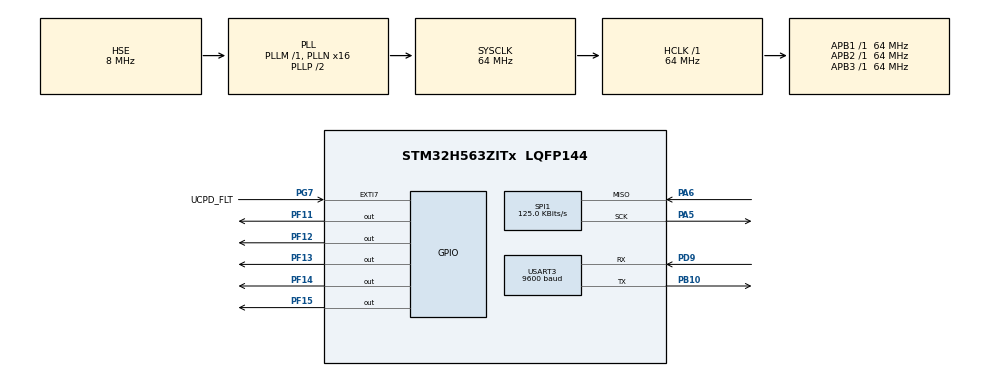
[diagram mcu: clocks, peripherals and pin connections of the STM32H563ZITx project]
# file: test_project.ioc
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BOOTPATH.BootPathName=LEGACY
BOOTPATH.UserSelectedBootPath=LEGACY
CORTEX_M33_NS.userName=CORTEX_M33
Mcu.Family=STM32H5
Mcu.Name=STM32H563ZITx
Mcu.Package=LQFP144
NUCLEO-H563ZI.BUTTON=0
NUCLEO-H563ZI.LD1=false
NUCLEO-H563ZI.LD2=false
NUCLEO-H563ZI.LD3=false
NUCLEO-H563ZI.VCP=false
NVIC.PriorityGroup=NVIC_PRIORITYGROUP_4
PA1.GPIO_Label=RMII_REF_CLK
PA1.GPIO_Mode=GPIO_MODE_AF_PP
PA1.GPIO_PuPd=GPIO_NOPULL
PA1.GPIO_Speed=GPIO_SPEED_FREQ_LOW
PA1.Signal=ETH_REF_CLK
PA11.GPIO_Label=USB_FS_N
PA11.Signal=USB_DM
PA12.GPIO_Label=USB_FS_P
PA12.Signal=USB_DP
PA13(JTMS/SWDIO).GPIO_Label=SWDIO
PA13(JTMS/SWDIO).Signal=DEBUG_JTMS-SWDIO
PA14(JTCK/SWCLK).GPIO_Label=SWCLK
PA14(JTCK/SWCLK).Signal=DEBUG_JTCK-SWCLK
PA15(JTDI).GPIO_Label=T_JTDI
PA15(JTDI).Signal=DEBUG_JTDI
PA2.GPIO_Label=RMII_MDIO
PA2.GPIO_Mode=GPIO_MODE_AF_PP
PA2.GPIO_PuPd=GPIO_NOPULL
PA2.GPIO_Speed=GPIO_SPEED_FREQ_LOW
PA2.Signal=ETH_MDIO
PA4.GPIO_Label=VBUS_SENSE
PA4.Signal=ADCx_INP18
PA5.Mode=RX_Only_Simplex_Unidirect_Master
PA5.Signal=SPI1_SCK
PA6.Mode=RX_Only_Simplex_Unidirect_Master
PA6.Signal=SPI1_MISO
PA7.GPIO_Label=RMII_CRS_DV
PA7.GPIO_Mode=GPIO_MODE_AF_PP
PA7.GPIO_PuPd=GPIO_NOPULL
PA7.GPIO_Speed=GPIO_SPEED_FREQ_LOW
PA7.Signal=ETH_CRS_DV
PA9.GPIO_Label=UCDP_DBn
PA9.Signal=UCPD1_DB1
PB10.Mode=Asynchronous
PB10.Signal=USART3_TX
PB13.GPIO_Label=UCPD_CC1
PB13.Signal=UCPD1_CC1
PB14.GPIO_Label=UCPD_CC2
PB14.Signal=UCPD1_CC2
PB15.GPIO_Label=RMII_TXD1
PB15.GPIO_Mode=GPIO_MODE_AF_PP
PB15.GPIO_PuPd=GPIO_NOPULL
PB15.GPIO_Speed=GPIO_SPEED_FREQ_LOW
PB15.Signal=ETH_TXD1
PB3(JTDO/TRACESWO).GPIO_Label=SWO
PB3(JTDO/TRACESWO).Signal=DEBUG_JTDO-SWO
PB6.GPIO_Label=ARD_D1_TX
PB6.Signal=LPUART1_TX
PB7.GPIO_Label=ARD_D0_RX
PB7.Signal=LPUART1_RX
PC1.GPIO_Label=RMII_MDC
PC1.GPIO_Mode=GPIO_MODE_AF_PP
PC1.GPIO_PuPd=GPIO_NOPULL
PC1.GPIO_Speed=GPIO_SPEED_FREQ_LOW
PC1.Signal=ETH_MDC
PC14-OSC32_IN(OSC32_IN).Mode=LSE-External-Oscillator
PC14-OSC32_IN(OSC32_IN).Signal=RCC_OSC32_IN
PC15-OSC32_OUT(OSC32_OUT).Mode=LSE-External-Oscillator
PC15-OSC32_OUT(OSC32_OUT).Signal=RCC_OSC32_OUT
PC4.GPIO_Label=RMII_RXD0
PC4.GPIO_Mode=GPIO_MODE_AF_PP
PC4.GPIO_PuPd=GPIO_NOPULL
PC4.GPIO_Speed=GPIO_SPEED_FREQ_LOW
PC4.Signal=ETH_RXD0
PC5.GPIO_Label=RMII_RXD1
PC5.GPIO_Mode=GPIO_MODE_AF_PP
PC5.GPIO_PuPd=GPIO_NOPULL
PC5.GPIO_Speed=GPIO_SPEED_FREQ_LOW
PC5.Signal=ETH_RXD1
PD9.Mode=Asynchronous
PD9.Signal=USART3_RX
PE2.GPIO_Label=TRACE_CK
PE2.Signal=DEBUG_TRACECLK
PE3.GPIO_Label=TRACE_D0
PE3.Signal=DEBUG_TRACED0
PE4.GPIO_Label=TRACE_D1
PE4.Signal=DEBUG_TRACED1
PE5.GPIO_Label=TRACE_D2
PE5.Signal=DEBUG_TRACED2
PE6.GPIO_Label=TRACE_D3
PE6.Signal=DEBUG_TRACED3
PF11.Signal=GPIO_Output
PF12.Signal=GPIO_Output
PF13.Signal=GPIO_Output
PF14.Signal=GPIO_Output
PF15.Signal=GPIO_Output
PG11.GPIO_Label=RMII_TXT_EN
PG11.GPIO_Mode=GPIO_MODE_AF_PP
PG11.GPIO_PuPd=GPIO_NOPULL
PG11.GPIO_Speed=GPIO_SPEED_FREQ_LOW
PG11.Signal=ETH_TX_EN
PG13.GPIO_Label=RMI_TXD0
PG13.GPIO_Mode=GPIO_MODE_AF_PP
PG13.GPIO_PuPd=GPIO_NOPULL
PG13.GPIO_Speed=GPIO_SPEED_FREQ_LOW
PG13.Signal=ETH_TXD0
PG7.GPIO_Label=UCPD_FLT
PG7.Signal=GPXTI7
PH0-OSC_IN(PH0).GPIO_Label=STLK_MCO
PH0-OSC_IN(PH0).Mode=HSE-External-Clock-Source
PH0-OSC_IN(PH0).Signal=RCC_OSC_IN
ProjectManager.HeapSize=0x200
ProjectManager.StackSize=0x400
ProjectManager.TargetToolchain=STM32CubeIDE
RCC.ADCFreq_Value=64000000
RCC.AHBFreq_Value=64000000
RCC.APB1Freq_Value=64000000
RCC.APB1TimFreq_Value=64000000
RCC.APB2Freq_Value=64000000
RCC.APB2TimFreq_Value=64000000
RCC.APB3Freq_Value=64000000
RCC.CSI_VALUE=4000000
RCC.CortexFreq_Value=64000000
RCC.EPOD_VALUE=8000000
RCC.HCLKFreq_Value=64000000
RCC.HSE_VALUE=8000000
RCC.HSI48_VALUE=48000000
RCC.HSIDiv=RCC_HSI_DIV1
RCC.HSI_VALUE=64000000
RCC.LSIRC_VALUE=32000
RCC.PLL1Q=8
RCC.PLLFRACN=0
RCC.PLLN=16
RCC.PLLSourceVirtual=RCC_PLL1_SOURCE_HSE
RCC.SYSCLKFreq_VALUE=64000000
RCC.SYSCLKSource=RCC_SYSCLKSOURCE_PLLCLK
RCC.USBFreq_Value=48000000
RCC.VCOOutputFreq_Value=128000000
SH.ADCx_INP18.0=ADC1_INP18
SPI1.BaudRatePrescaler=SPI_BAUDRATEPRESCALER_128
SPI1.CalculateBaudRate=125.0 KBits/s
SPI1.DataSize=SPI_DATASIZE_16BIT
SPI1.Direction=SPI_DIRECTION_2LINES_RXONLY
SPI1.Mode=SPI_MODE_MASTER
SPI1.VirtualType=VM_MASTER
USART3.BaudRate=9600
USART3.VirtualMode-Asynchronous=VM_ASYNC
VP_BOOTPATH_VS_BOOTPATH.Mode=BP_Activate
VP_CORTEX_M33_NS_VS_Hclk.Mode=Hclk_Mode
VP_MEMORYMAP_VS_MEMORYMAP.Mode=CurAppReg
VP_NUCLEO-H563ZI_VS_BSP_COMMON.Mode=COMMON
VP_PWR_VS_DBSignals.Mode=DisableDeadBatterySignals
VP_PWR_VS_LPOM.Mode=PowerOptimisation
VP_PWR_VS_SECSignals.Mode=Security/Privilege
board=NUCLEO-H563ZI

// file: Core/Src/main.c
/* USER CODE BEGIN Header */
/**
  ******************************************************************************
  * @file           : main.c
  * @brief          : Main program body
  ******************************************************************************
  * @attention
  *
  * Copyright (c) 2024 STMicroelectronics.
  * All rights reserved.
  *
  * This software is licensed under terms that can be found in the LICENSE file
  * in the root directory of this software component.
  * If no LICENSE file comes with this software, it is provided AS-IS.
  *
  ******************************************************************************
  */
/* USER CODE END Header */
#include "main.h"

/* USER CODE BEGIN Includes */
#include <string.h>
#include <stdio.h>
/* USER CODE END Includes */

SPI_HandleTypeDef hspi1;

UART_HandleTypeDef huart3;

void SystemClock_Config(void);
static void MX_GPIO_Init(void);
static void MX_SPI1_Init(void);
static void MX_USART3_UART_Init(void);

int main(void)
{

  /* MCU Configuration--------------------------------------------------------*/

  /* Reset of all peripherals, Initializes the Flash interface and the Systick. */
  HAL_Init();

  /* Configure the system clock */
  SystemClock_Config();

  /* Initialize all configured peripherals */
  MX_GPIO_Init();
  MX_SPI1_Init();
  MX_USART3_UART_Init();

  /* Infinite loop */
  /* USER CODE BEGIN WHILE */
  float Temp[5];
  _Bool TCF=0;                                          // Thermocouple Connection acknowledge Flag
  uint8_t print_data[100];
  uint8_t DATARX[2];

  while (1)
  {
	// Reading sensor 1 data
	HAL_GPIO_WritePin(GPIOF,GPIO_PIN_11,GPIO_PIN_RESET);       // Low State for SPI Communication
	HAL_SPI_Receive(&hspi1,DATARX,1,50);                  // DATA Transfer
	HAL_GPIO_WritePin(GPIOF,GPIO_PIN_11,GPIO_PIN_SET);         // High State for SPI Communication
	TCF=(((DATARX[0]|(DATARX[1]<<8))>>2)& 0x0001);        // State of Connecting
	Temp[0]=((((DATARX[0]|DATARX[1]<<8)))>>3);               // Temperature Data Extraction
	Temp[0]*=0.25;

	// Reading sensor 2 data
	HAL_GPIO_WritePin(GPIOF,GPIO_PIN_12,GPIO_PIN_RESET);       // Low State for SPI Communication
	HAL_SPI_Receive(&hspi1,DATARX,1,50);                  // DATA Transfer
	HAL_GPIO_WritePin(GPIOF,GPIO_PIN_12,GPIO_PIN_SET);         // High State for SPI Communication
	TCF=(((DATARX[0]|(DATARX[1]<<8))>>2)& 0x0001);        // State of Connecting
	Temp[1]=((((DATARX[0]|DATARX[1]<<8)))>>3);               // Temperature Data Extraction
	Temp[1]*=0.25;

	// Reading sensor 3 data
	HAL_GPIO_WritePin(GPIOF,GPIO_PIN_13,GPIO_PIN_RESET);       // Low State for SPI Communication
	HAL_SPI_Receive(&hspi1,DATARX,1,50);                  // DATA Transfer
	HAL_GPIO_WritePin(GPIOF,GPIO_PIN_13,GPIO_PIN_SET);         // High State for SPI Communication
	TCF=(((DATARX[0]|(DATARX[1]<<8))>>2)& 0x0001);        // State of Connecting
	Temp[2]=((((DATARX[0]|DATARX[1]<<8)))>>3);               // Temperature Data Extraction
	Temp[2]*=0.25;

	// Reading sensor 4 data
	HAL_GPIO_WritePin(GPIOF,GPIO_PIN_14,GPIO_PIN_RESET);       // Low State for SPI Communication
	HAL_SPI_Receive(&hspi1,DATARX,1,50);                  // DATA Transfer
	HAL_GPIO_WritePin(GPIOF,GPIO_PIN_14,GPIO_PIN_SET);         // High State for SPI Communication
	TCF=(((DATARX[0]|(DATARX[1]<<8))>>2)& 0x0001);        // State of Connecting
	Temp[3]=((((DATARX[0]|DATARX[1]<<8)))>>3);               // Temperature Data Extraction
	Temp[3]*=0.25;

	// Reading sensor 5 data
	HAL_GPIO_WritePin(GPIOF,GPIO_PIN_15,GPIO_PIN_RESET);       // Low State for SPI Communication
	HAL_SPI_Receive(&hspi1,DATARX,1,50);                  // DATA Transfer
	HAL_GPIO_WritePin(GPIOF,GPIO_PIN_15,GPIO_PIN_SET);         // High State for SPI Communication
	TCF=(((DATARX[0]|(DATARX[1]<<8))>>2)& 0x0001);        // State of Connecting
	Temp[4]=((((DATARX[0]|DATARX[1]<<8)))>>3);               // Temperature Data Extraction
	Temp[4]*=0.25;

	// Sending data to esp
	sprintf(print_data, "{\"sen1\": %.2f, \"sen2\": %.2f, \"sen3\": %.2f, \"sen4\": %.2f, \"sen5\": %.2f}\n",
		Temp[0], Temp[1],Temp[2],Temp[3],Temp[4]);
	HAL_UART_Transmit(&huart3, print_data, strlen(print_data), 100);

	HAL_Delay(5000);
    /* USER CODE END WHILE */

  }
}

void SystemClock_Config(void)
{
  RCC_OscInitTypeDef RCC_OscInitStruct = {0};
  RCC_ClkInitTypeDef RCC_ClkInitStruct = {0};

  /** Configure the main internal regulator output voltage
  */
  __HAL_PWR_VOLTAGESCALING_CONFIG(PWR_REGULATOR_VOLTAGE_SCALE3);

  while(!__HAL_PWR_GET_FLAG(PWR_FLAG_VOSRDY)) {}

  /** Initializes the RCC Oscillators according to the specified parameters
  * in the RCC_OscInitTypeDef structure.
  */
  RCC_OscInitStruct.OscillatorType = RCC_OSCILLATORTYPE_HSE;
  RCC_OscInitStruct.HSEState = RCC_HSE_BYPASS;
  RCC_OscInitStruct.PLL.PLLState = RCC_PLL_ON;
  RCC_OscInitStruct.PLL.PLLSource = RCC_PLL1_SOURCE_HSE;
  RCC_OscInitStruct.PLL.PLLM = 1;
  RCC_OscInitStruct.PLL.PLLN = 16;
  RCC_OscInitStruct.PLL.PLLP = 2;
  RCC_OscInitStruct.PLL.PLLQ = 8;
  RCC_OscInitStruct.PLL.PLLR = 2;
  RCC_OscInitStruct.PLL.PLLRGE = RCC_PLL1_VCIRANGE_3;
  RCC_OscInitStruct.PLL.PLLVCOSEL = RCC_PLL1_VCORANGE_WIDE;
  RCC_OscInitStruct.PLL.PLLFRACN = 0;
  if (HAL_RCC_OscConfig(&RCC_OscInitStruct) != HAL_OK)
  {
    Error_Handler();
  }

  /** Initializes the CPU, AHB and APB buses clocks
  */
  RCC_ClkInitStruct.ClockType = RCC_CLOCKTYPE_HCLK|RCC_CLOCKTYPE_SYSCLK
                              |RCC_CLOCKTYPE_PCLK1|RCC_CLOCKTYPE_PCLK2
                              |RCC_CLOCKTYPE_PCLK3;
  RCC_ClkInitStruct.SYSCLKSource = RCC_SYSCLKSOURCE_PLLCLK;
  RCC_ClkInitStruct.AHBCLKDivider = RCC_SYSCLK_DIV1;
  RCC_ClkInitStruct.APB1CLKDivider = RCC_HCLK_DIV1;
  RCC_ClkInitStruct.APB2CLKDivider = RCC_HCLK_DIV1;
  RCC_ClkInitStruct.APB3CLKDivider = RCC_HCLK_DIV1;

  if (HAL_RCC_ClockConfig(&RCC_ClkInitStruct, FLASH_LATENCY_3) != HAL_OK)
  {
    Error_Handler();
  }

  /** Configure the programming delay
  */
  __HAL_FLASH_SET_PROGRAM_DELAY(FLASH_PROGRAMMING_DELAY_1);
}

static void MX_SPI1_Init(void)
{

  /* SPI1 parameter configuration*/
  hspi1.Instance = SPI1;
  hspi1.Init.Mode = SPI_MODE_MASTER;
  hspi1.Init.Direction = SPI_DIRECTION_2LINES_RXONLY;
  hspi1.Init.DataSize = SPI_DATASIZE_16BIT;
  hspi1.Init.CLKPolarity = SPI_POLARITY_LOW;
  hspi1.Init.CLKPhase = SPI_PHASE_1EDGE;
  hspi1.Init.NSS = SPI_NSS_SOFT;
  hspi1.Init.BaudRatePrescaler = SPI_BAUDRATEPRESCALER_128;
  hspi1.Init.FirstBit = SPI_FIRSTBIT_MSB;
  hspi1.Init.TIMode = SPI_TIMODE_DISABLE;
  hspi1.Init.CRCCalculation = SPI_CRCCALCULATION_DISABLE;
  hspi1.Init.CRCPolynomial = 0x7;
  hspi1.Init.NSSPMode = SPI_NSS_PULSE_ENABLE;
  hspi1.Init.NSSPolarity = SPI_NSS_POLARITY_LOW;
  hspi1.Init.FifoThreshold = SPI_FIFO_THRESHOLD_01DATA;
  hspi1.Init.MasterSSIdleness = SPI_MASTER_SS_IDLENESS_00CYCLE;
  hspi1.Init.MasterInterDataIdleness = SPI_MASTER_INTERDATA_IDLENESS_00CYCLE;
  hspi1.Init.MasterReceiverAutoSusp = SPI_MASTER_RX_AUTOSUSP_DISABLE;
  hspi1.Init.MasterKeepIOState = SPI_MASTER_KEEP_IO_STATE_DISABLE;
  hspi1.Init.IOSwap = SPI_IO_SWAP_DISABLE;
  hspi1.Init.ReadyMasterManagement = SPI_RDY_MASTER_MANAGEMENT_INTERNALLY;
  hspi1.Init.ReadyPolarity = SPI_RDY_POLARITY_HIGH;
  if (HAL_SPI_Init(&hspi1) != HAL_OK)
  {
    Error_Handler();
  }

}

static void MX_USART3_UART_Init(void)
{

  huart3.Instance = USART3;
  huart3.Init.BaudRate = 9600;
  huart3.Init.WordLength = UART_WORDLENGTH_8B;
  huart3.Init.StopBits = UART_STOPBITS_1;
  huart3.Init.Parity = UART_PARITY_NONE;
  huart3.Init.Mode = UART_MODE_TX_RX;
  huart3.Init.HwFlowCtl = UART_HWCONTROL_NONE;
  huart3.Init.OverSampling = UART_OVERSAMPLING_16;
  huart3.Init.OneBitSampling = UART_ONE_BIT_SAMPLE_DISABLE;
  huart3.Init.ClockPrescaler = UART_PRESCALER_DIV1;
  huart3.AdvancedInit.AdvFeatureInit = UART_ADVFEATURE_NO_INIT;
  if (HAL_UART_Init(&huart3) != HAL_OK)
  {
    Error_Handler();
  }
  if (HAL_UARTEx_SetTxFifoThreshold(&huart3, UART_TXFIFO_THRESHOLD_1_8) != HAL_OK)
  {
    Error_Handler();
  }
  if (HAL_UARTEx_SetRxFifoThreshold(&huart3, UART_RXFIFO_THRESHOLD_1_8) != HAL_OK)
  {
    Error_Handler();
  }
  if (HAL_UARTEx_DisableFifoMode(&huart3) != HAL_OK)
  {
    Error_Handler();
  }

}

static void MX_GPIO_Init(void)
{
  GPIO_InitTypeDef GPIO_InitStruct = {0};

  /* GPIO Ports Clock Enable */
  __HAL_RCC_GPIOE_CLK_ENABLE();
  __HAL_RCC_GPIOC_CLK_ENABLE();
  __HAL_RCC_GPIOH_CLK_ENABLE();
  __HAL_RCC_GPIOA_CLK_ENABLE();
  __HAL_RCC_GPIOF_CLK_ENABLE();
  __HAL_RCC_GPIOB_CLK_ENABLE();
  __HAL_RCC_GPIOD_CLK_ENABLE();
  __HAL_RCC_GPIOG_CLK_ENABLE();

  /*Configure GPIO pin Output Level */
  HAL_GPIO_WritePin(GPIOF, GPIO_PIN_11|GPIO_PIN_12|GPIO_PIN_13|GPIO_PIN_14
                          |GPIO_PIN_15, GPIO_PIN_RESET);

  /*Configure GPIO pins : RMII_MDC_Pin RMII_RXD0_Pin RMII_RXD1_Pin */
  GPIO_InitStruct.Pin = RMII_MDC_Pin|RMII_RXD0_Pin|RMII_RXD1_Pin;
  GPIO_InitStruct.Mode = GPIO_MODE_AF_PP;
  GPIO_InitStruct.Pull = GPIO_NOPULL;
  GPIO_InitStruct.Speed = GPIO_SPEED_FREQ_HIGH;
  GPIO_InitStruct.Alternate = GPIO_AF11_ETH;
  HAL_GPIO_Init(GPIOC, &GPIO_InitStruct);

  /*Configure GPIO pins : RMII_REF_CLK_Pin RMII_MDIO_Pin RMII_CRS_DV_Pin */
  GPIO_InitStruct.Pin = RMII_REF_CLK_Pin|RMII_MDIO_Pin|RMII_CRS_DV_Pin;
  GPIO_InitStruct.Mode = GPIO_MODE_AF_PP;
  GPIO_InitStruct.Pull = GPIO_NOPULL;
  GPIO_InitStruct.Speed = GPIO_SPEED_FREQ_HIGH;
  GPIO_InitStruct.Alternate = GPIO_AF11_ETH;
  HAL_GPIO_Init(GPIOA, &GPIO_InitStruct);

  /*Configure GPIO pin : VBUS_SENSE_Pin */
  GPIO_InitStruct.Pin = VBUS_SENSE_Pin;
  GPIO_InitStruct.Mode = GPIO_MODE_ANALOG;
  GPIO_InitStruct.Pull = GPIO_NOPULL;
  HAL_GPIO_Init(VBUS_SENSE_GPIO_Port, &GPIO_InitStruct);

  /*Configure GPIO pins : PF11 PF12 PF13 PF14
                           PF15 */
  GPIO_InitStruct.Pin = GPIO_PIN_11|GPIO_PIN_12|GPIO_PIN_13|GPIO_PIN_14
                          |GPIO_PIN_15;
  GPIO_InitStruct.Mode = GPIO_MODE_OUTPUT_PP;
  GPIO_InitStruct.Pull = GPIO_NOPULL;
  GPIO_InitStruct.Speed = GPIO_SPEED_FREQ_LOW;
  HAL_GPIO_Init(GPIOF, &GPIO_InitStruct);

  /*Configure GPIO pins : UCPD_CC1_Pin UCPD_CC2_Pin */
  GPIO_InitStruct.Pin = UCPD_CC1_Pin|UCPD_CC2_Pin;
  GPIO_InitStruct.Mode = GPIO_MODE_ANALOG;
  GPIO_InitStruct.Pull = GPIO_NOPULL;
  HAL_GPIO_Init(GPIOB, &GPIO_InitStruct);

  /*Configure GPIO pin : RMII_TXD1_Pin */
  GPIO_InitStruct.Pin = RMII_TXD1_Pin;
  GPIO_InitStruct.Mode = GPIO_MODE_AF_PP;
  GPIO_InitStruct.Pull = GPIO_NOPULL;
  GPIO_InitStruct.Speed = GPIO_SPEED_FREQ_HIGH;
  GPIO_InitStruct.Alternate = GPIO_AF11_ETH;
  HAL_GPIO_Init(RMII_TXD1_GPIO_Port, &GPIO_InitStruct);

  /*Configure GPIO pin : UCPD_FLT_Pin */
  GPIO_InitStruct.Pin = UCPD_FLT_Pin;
  GPIO_InitStruct.Mode = GPIO_MODE_IT_RISING;
  GPIO_InitStruct.Pull = GPIO_NOPULL;
  HAL_GPIO_Init(UCPD_FLT_GPIO_Port, &GPIO_InitStruct);

  /*Configure GPIO pins : USB_FS_N_Pin USB_FS_P_Pin */
  GPIO_InitStruct.Pin = USB_FS_N_Pin|USB_FS_P_Pin;
  GPIO_InitStruct.Mode = GPIO_MODE_AF_PP;
  GPIO_InitStruct.Pull = GPIO_NOPULL;
  GPIO_InitStruct.Speed = GPIO_SPEED_FREQ_LOW;
  GPIO_InitStruct.Alternate = GPIO_AF10_USB;
  HAL_GPIO_Init(GPIOA, &GPIO_InitStruct);

  /*Configure GPIO pins : RMII_TXT_EN_Pin RMI_TXD0_Pin */
  GPIO_InitStruct.Pin = RMII_TXT_EN_Pin|RMI_TXD0_Pin;
  GPIO_InitStruct.Mode = GPIO_MODE_AF_PP;
  GPIO_InitStruct.Pull = GPIO_NOPULL;
  GPIO_InitStruct.Speed = GPIO_SPEED_FREQ_HIGH;
  GPIO_InitStruct.Alternate = GPIO_AF11_ETH;
  HAL_GPIO_Init(GPIOG, &GPIO_InitStruct);

  /*Configure GPIO pins : ARD_D1_TX_Pin ARD_D0_RX_Pin */
  GPIO_InitStruct.Pin = ARD_D1_TX_Pin|ARD_D0_RX_Pin;
  GPIO_InitStruct.Mode = GPIO_MODE_AF_PP;
  GPIO_InitStruct.Pull = GPIO_NOPULL;
  GPIO_InitStruct.Speed = GPIO_SPEED_FREQ_LOW;
  GPIO_InitStruct.Alternate = GPIO_AF8_LPUART1;
  HAL_GPIO_Init(GPIOB, &GPIO_InitStruct);

}

void Error_Handler(void)
{
  __disable_irq();
  while (1)
  {
  }
}
